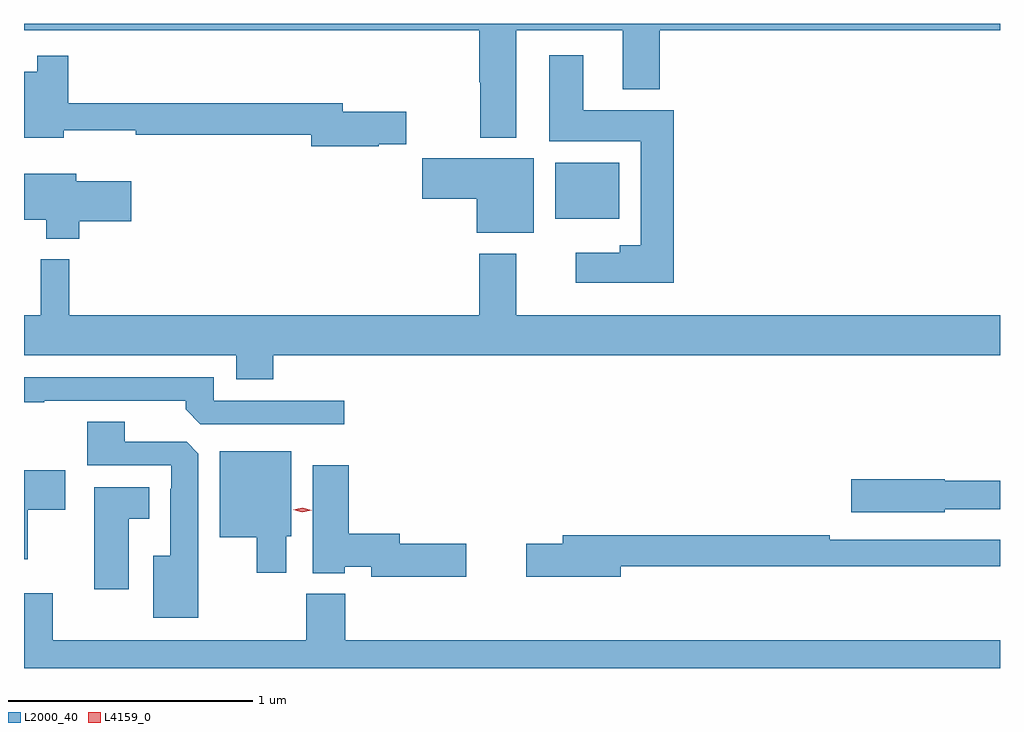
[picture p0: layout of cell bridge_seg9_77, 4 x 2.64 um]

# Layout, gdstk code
import gdstk
lib = gdstk.Library(unit=1e-6, precision=1e-09)
def R(c, l, rs):  # rectangles x0, y0, x1, y1
    for r in rs: c.add(gdstk.rectangle(r[:2], r[2:], *l))
def P(c, l, *ps):  # polygons
    for p in ps: c.add(gdstk.Polygon(p, *l))
L2000_40 = (2000, 40)
L4159_0 = (4159, 0)

bridge_seg9_77 = lib.new_cell('bridge_seg9_77')
R(bridge_seg9_77, L2000_40, [(1019.933,1166.342,1020.196,1166.572)])
P(bridge_seg9_77, L2000_40, [(1019.773,1167.116),(1020.209,1167.116),(1020.209,1166.873),(1020.362,1166.873),(1020.362,1167.116),(1021.756,1167.116),(1021.756,1167.142),(1017.756,1167.142),(1017.756,1167.116),(1019.621,1167.116),(1019.621,1166.901),(1019.626,1166.901),(1019.626,1166.675),(1019.773,1166.675)],
  [(1020.419,1166.788),(1020.049,1166.788),(1020.049,1167.013),(1019.909,1167.013),(1019.909,1166.66),(1020.284,1166.66),(1020.284,1166.233),(1020.197,1166.233),(1020.197,1166.203),(1020.018,1166.203),(1020.018,1166.081),(1020.419,1166.081)],
  [(1019.21,1166.648),(1019.323,1166.648),(1019.323,1166.781),(1019.062,1166.781),(1019.062,1166.815),(1017.938,1166.815),(1017.938,1167.01),(1017.81,1167.01),(1017.81,1166.944),(1017.756,1166.944),(1017.756,1166.675),(1017.919,1166.675),(1017.919,1166.705),(1018.215,1166.705),(1018.215,1166.686),(1018.934,1166.686),(1018.934,1166.639),(1019.21,1166.639)],
  [(1019.845,1166.59),(1019.388,1166.59),(1019.388,1166.425),(1019.612,1166.425),(1019.612,1166.285),(1019.845,1166.285)],
  [(1017.983,1166.332),(1018.195,1166.332),(1018.195,1166.497),(1017.97,1166.497),(1017.97,1166.527),(1017.756,1166.527),(1017.756,1166.339),(1017.848,1166.339),(1017.848,1166.261),(1017.983,1166.261)],
  [(1018.778,1165.784),(1021.756,1165.784),(1021.756,1165.948),(1019.773,1165.948),(1019.773,1166.2),(1019.621,1166.2),(1019.621,1165.948),(1017.941,1165.948),(1017.941,1166.176),(1017.824,1166.176),(1017.824,1165.948),(1017.756,1165.948),(1017.756,1165.784),(1018.625,1165.784),(1018.625,1165.685),(1018.778,1165.685)],
  [(1019.068,1165.596),(1018.533,1165.596),(1018.533,1165.692),(1017.756,1165.692),(1017.756,1165.591),(1017.838,1165.591),(1017.838,1165.596),(1018.418,1165.596),(1018.418,1165.562),(1018.479,1165.5),(1019.068,1165.5)],
  [(1018.471,1165.379),(1018.422,1165.428),(1018.168,1165.428),(1018.168,1165.511),(1018.016,1165.511),(1018.016,1165.332),(1018.359,1165.332),(1018.359,1165.235),(1018.355,1165.235),(1018.355,1164.961),(1018.286,1164.961),(1018.286,1164.707),(1018.471,1164.707)],
  [(1018.831,1165.041),(1018.852,1165.041),(1018.852,1165.39),(1018.559,1165.39),(1018.559,1165.037),(1018.709,1165.037),(1018.709,1164.891),(1018.831,1164.891)],
  [(1019.569,1165.01),(1019.296,1165.01),(1019.296,1165.052),(1019.087,1165.052),(1019.087,1165.333),(1018.94,1165.333),(1018.94,1164.89),(1019.07,1164.89),(1019.07,1164.917),(1019.18,1164.917),(1019.18,1164.875),(1019.569,1164.875)],
  [(1017.772,1165.15),(1017.925,1165.15),(1017.925,1165.312),(1017.756,1165.312),(1017.756,1164.947),(1017.772,1164.947)],
  [(1021.53,1165.152),(1021.756,1165.152),(1021.756,1165.268),(1021.53,1165.268),(1021.53,1165.274),(1021.146,1165.274),(1021.146,1165.139),(1021.53,1165.139)],
  [(1018.186,1165.112),(1018.27,1165.112),(1018.27,1165.243),(1018.043,1165.243),(1018.043,1164.825),(1018.186,1164.825)],
  [(1020.202,1164.918),(1021.756,1164.918),(1021.756,1165.026),(1021.058,1165.026),(1021.058,1165.046),(1019.963,1165.046),(1019.963,1165.01),(1019.814,1165.01),(1019.814,1164.875),(1020.202,1164.875)],
  [(1021.756,1164.616),(1019.072,1164.616),(1019.072,1164.805),(1018.912,1164.805),(1018.912,1164.616),(1017.874,1164.616),(1017.874,1164.808),(1017.756,1164.808),(1017.756,1164.5),(1021.756,1164.5)])
P(bridge_seg9_77, L4159_0, [(1018.897,1165.139),(1018.859,1165.15),(1018.858,1165.15),(1018.859,1165.15),(1018.897,1165.159),(1018.935,1165.148),(1018.936,1165.148),(1018.935,1165.148)])

lib.write_gds('bridge_seg9_77.gds')
